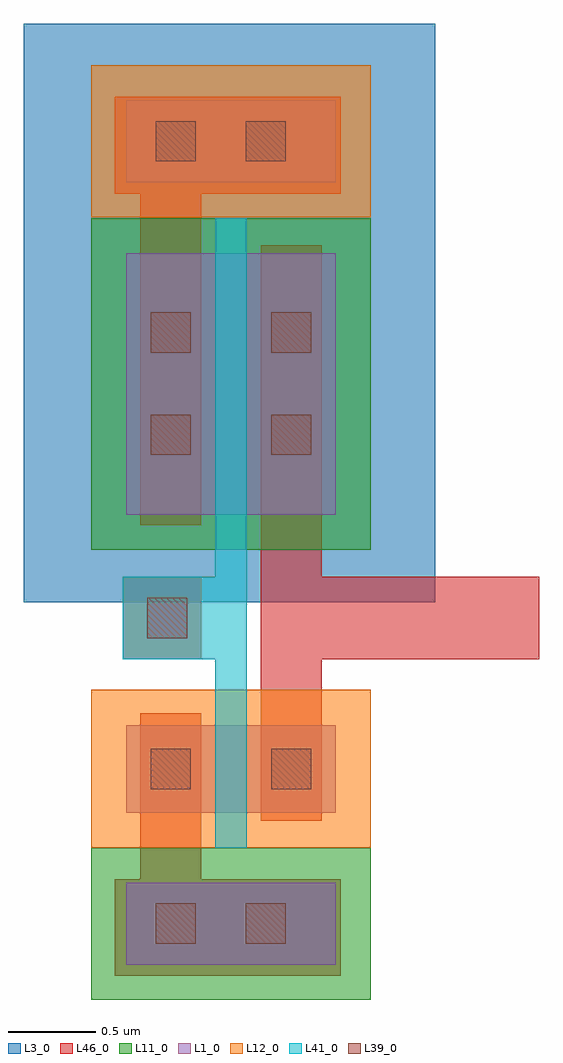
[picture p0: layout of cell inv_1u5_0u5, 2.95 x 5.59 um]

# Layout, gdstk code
import gdstk
lib = gdstk.Library(unit=1e-6, precision=1e-09)
def R(c, l, rs):  # rectangles x0, y0, x1, y1
    for r in rs: c.add(gdstk.rectangle(r[:2], r[2:], *l))
L1_0 = (1, 0)
L3_0 = (3, 0)
L11_0 = (11, 0)
L12_0 = (12, 0)
L39_0 = (39, 0)
L41_0 = (41, 0)
L46_0 = (46, 0)

inv_1u5_0u5 = lib.new_cell('inv_1u5_0u5')
R(inv_1u5_0u5, L1_0, [(-0.575,-3.065,0.625,-2.595), (-0.575,-2.195,0.625,-1.695), (-0.575,-0.49,0.625,1.01), (-0.575,1.415,0.625,1.885)])
R(inv_1u5_0u5, L3_0, [(-1.16,-0.99,1.195,2.325)])
R(inv_1u5_0u5, L11_0, [(-0.775,-3.265,0.825,-2.395), (-0.775,-0.69,0.825,1.21)])
R(inv_1u5_0u5, L12_0, [(-0.775,-2.395,0.825,-1.49), (-0.775,1.215,0.825,2.085)])
R(inv_1u5_0u5, L39_0, [(-0.405,-2.945,-0.175,-2.715), (0.11,-2.945,0.34,-2.715), (-0.435,-2.06,-0.205,-1.83), (-0.435,-2.06,-0.205,-1.83), (0.255,-2.06,0.485,-1.83), (-0.455,-1.195,-0.225,-0.965), (-0.435,-0.145,-0.205,0.085), (-0.435,-0.145,-0.205,0.085), (0.255,-0.145,0.485,0.085), (-0.435,0.44,-0.205,0.67), (-0.435,0.44,-0.205,0.67), (0.255,0.44,0.485,0.67), (-0.405,1.535,-0.175,1.765), (0.11,1.535,0.34,1.765)])
R(inv_1u5_0u5, L41_0, [(-0.065,-2.395,0.115,-1.305), (-0.595,-1.315,0.115,-0.845), (-0.065,-0.9,0.115,1.21)])
R(inv_1u5_0u5, L46_0, [(-0.64,-3.13,0.655,-2.575), (-0.495,-2.6,-0.145,-1.625), (-0.495,-2.24,-0.145,-1.625), (0.195,-2.24,0.545,-1.37), (0.195,-1.4,0.545,1.055), (-0.595,-1.315,-0.145,-0.845), (0.455,-1.315,1.79,-0.845), (-0.495,-0.55,-0.145,1.365), (-0.495,-0.55,-0.145,1.055), (-0.64,1.35,0.655,1.905)])

lib.write_gds('inv_1u5_0u5.gds')
